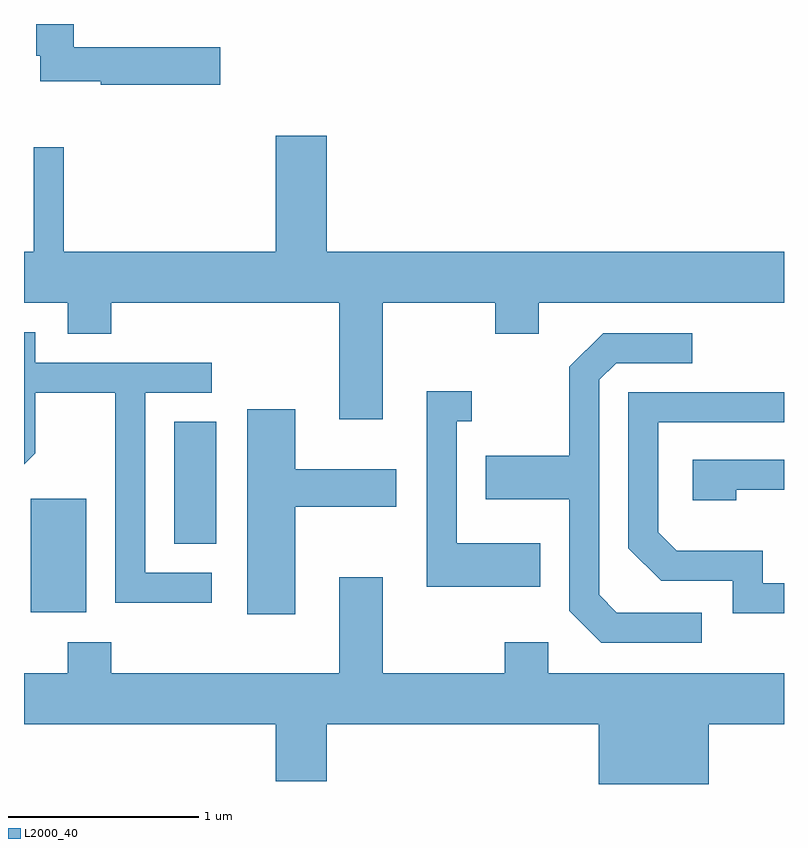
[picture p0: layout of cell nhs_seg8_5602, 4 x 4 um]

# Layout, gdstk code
import gdstk
lib = gdstk.Library(unit=1e-6, precision=1e-09)
def R(c, l, rs):  # rectangles x0, y0, x1, y1
    for r in rs: c.add(gdstk.rectangle(r[:2], r[2:], *l))
def P(c, l, *ps):  # polygons
    for p in ps: c.add(gdstk.Polygon(p, *l))
L2000_40 = (2000, 40)

nhs_seg8_5602 = lib.new_cell('nhs_seg8_5602')
R(nhs_seg8_5602, L2000_40, [(353.646,1819.246,353.939,1819.844), (354.401,1819.606,354.624,1820.249)])
P(nhs_seg8_5602, L2000_40, [(354.644,1822.219),(353.874,1822.219),(353.874,1822.342),(353.676,1822.342),(353.676,1822.176),(353.696,1822.176),(353.696,1822.041),(354.016,1822.041),(354.016,1822.021),(354.644,1822.021)],
  [(355.499,1820.876),(356.091,1820.876),(356.091,1820.711),(356.319,1820.711),(356.319,1820.876),(357.611,1820.876),(357.611,1821.144),(355.204,1821.144),(355.204,1821.754),(354.936,1821.754),(354.936,1821.144),(353.819,1821.144),(353.819,1821.693),(353.661,1821.693),(353.661,1821.144),(353.611,1821.144),(353.611,1820.876),(353.841,1820.876),(353.841,1820.711),(354.069,1820.711),(354.069,1820.876),(355.271,1820.876),(355.271,1820.261),(355.499,1820.261)],
  [(354.598,1819.454),(354.249,1819.454),(354.249,1820.401),(354.598,1820.401),(354.598,1820.559),(353.669,1820.559),(353.669,1820.719),(353.611,1820.719),(353.611,1820.026),(353.669,1820.084),(353.669,1820.401),(354.091,1820.401),(354.091,1819.296),(354.598,1819.296)],
  [(357.178,1819.244),(356.732,1819.244),(356.639,1819.337),(356.639,1820.469),(356.727,1820.556),(357.128,1820.556),(357.128,1820.714),(356.659,1820.714),(356.481,1820.537),(356.481,1820.069),(356.041,1820.069),(356.041,1819.841),(356.481,1819.841),(356.481,1819.254),(356.649,1819.086),(357.178,1819.086)],
  [(356.329,1819.609),(355.889,1819.609),(355.889,1820.251),(355.968,1820.251),(355.968,1820.409),(355.731,1820.409),(355.731,1819.381),(356.329,1819.381)],
  [(357.611,1819.399),(357.499,1819.399),(357.499,1819.569),(357.047,1819.569),(356.949,1819.667),(356.949,1820.246),(357.611,1820.246),(357.611,1820.404),(356.791,1820.404),(356.791,1819.584),(356.964,1819.411),(357.341,1819.411),(357.341,1819.241),(357.611,1819.241)],
  [(355.039,1819.801),(355.569,1819.801),(355.569,1819.999),(355.039,1819.999),(355.039,1820.314),(354.786,1820.314),(354.786,1819.236),(355.039,1819.236)],
  [(357.359,1819.891),(357.611,1819.891),(357.611,1820.049),(357.131,1820.049),(357.131,1819.836),(357.359,1819.836)],
  [(357.214,1818.656),(357.611,1818.656),(357.611,1818.924),(356.369,1818.924),(356.369,1819.089),(356.141,1819.089),(356.141,1818.924),(355.499,1818.924),(355.499,1819.429),(355.271,1819.429),(355.271,1818.924),(354.069,1818.924),(354.069,1819.089),(353.841,1819.089),(353.841,1818.924),(353.611,1818.924),(353.611,1818.656),(354.936,1818.656),(354.936,1818.356),(355.204,1818.356),(355.204,1818.656),(356.636,1818.656),(356.636,1818.342),(357.214,1818.342)])

lib.write_gds('nhs_seg8_5602.gds')
